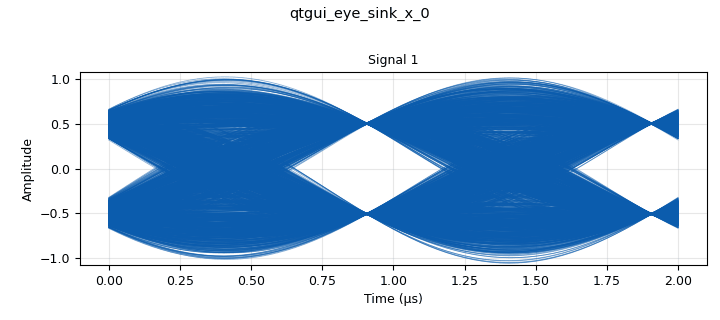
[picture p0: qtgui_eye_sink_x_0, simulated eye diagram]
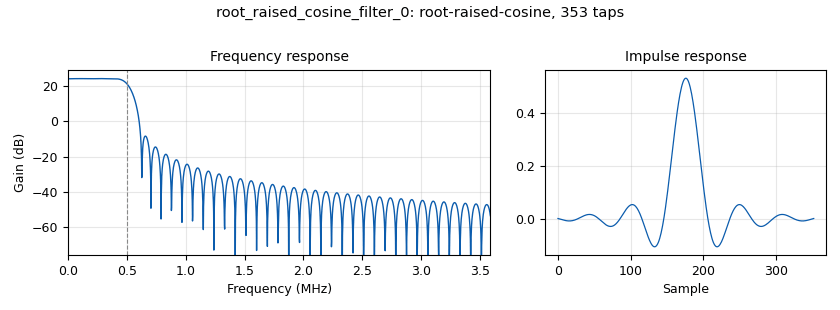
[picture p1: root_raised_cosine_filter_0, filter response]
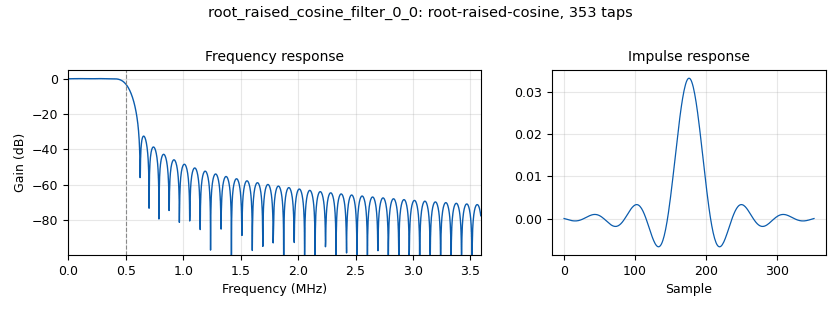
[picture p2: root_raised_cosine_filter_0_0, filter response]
options:
  parameters:
    generate_options: qt_gui
    id: matched_filtering
    output_language: python
    title: Not titled yet
  states: {}

blocks:
- name: data_rate
  id: variable
  parameters:
    value: 1e6
  states: {}
- name: samp_rate
  id: variable
  parameters:
    value: 32e6
  states: {}
- name: sps
  id: variable
  parameters:
    value: int(samp_rate/data_rate)
  states: {}
- name: analog_const_source_x_0
  id: analog_const_source_x
  parameters:
    const: '0'
    type: float
  states: {}
- name: blocks_complex_to_real_0
  id: blocks_complex_to_real
  parameters: {}
  states: {}
- name: blocks_float_to_complex_0
  id: blocks_float_to_complex
  parameters: {}
  states: {}
- name: blocks_throttle_0
  id: blocks_throttle
  parameters:
    samples_per_second: data_rate
    type: float
  states: {state: bypassed}
- name: channels_channel_model_0
  id: channels_channel_model
  parameters:
    epsilon: '1.0'
    freq_offset: '0.0'
    noise_voltage: '0'
    seed: '0'
    taps: 1.0 + 1.0j
  states: {}
- name: digital_glfsr_source_x_0
  id: digital_glfsr_source_x
  parameters:
    degree: '64'
    mask: '0'
    repeat: 'True'
    seed: '1'
    type: float
  states: {}
- name: qtgui_eye_sink_x_0
  id: qtgui_eye_sink_x
  parameters:
    grid: 'True'
    samp_per_symbol: sps
    size: sps*4096
    srate: samp_rate
    tr_delay: '0.5e-6'
    tr_mode: qtgui.TRIG_MODE_NORM
    type: float
    update_time: '0.5'
  states: {}
- name: root_raised_cosine_filter_0
  id: root_raised_cosine_filter
  parameters:
    alpha: '0.2'
    gain: sps/2
    interp: sps
    ntaps: 11*sps
    samp_rate: samp_rate
    sym_rate: data_rate
    type: interp_fir_filter_ccf
  states: {}
- name: root_raised_cosine_filter_0_0
  id: root_raised_cosine_filter
  parameters:
    alpha: '0.2'
    decim: '1'
    gain: '1'
    ntaps: 11*sps
    samp_rate: samp_rate
    sym_rate: data_rate
    type: fir_filter_ccf
  states: {}

connections:
- [analog_const_source_x_0, '0', blocks_float_to_complex_0, '1']
- [blocks_complex_to_real_0, '0', qtgui_eye_sink_x_0, '0']
- [blocks_float_to_complex_0, '0', root_raised_cosine_filter_0, '0']
- [blocks_throttle_0, '0', blocks_float_to_complex_0, '0']
- [channels_channel_model_0, '0', root_raised_cosine_filter_0_0, '0']
- [digital_glfsr_source_x_0, '0', blocks_throttle_0, '0']
- [root_raised_cosine_filter_0, '0', channels_channel_model_0, '0']
- [root_raised_cosine_filter_0_0, '0', blocks_complex_to_real_0, '0']

metadata:
  file_format: 1
